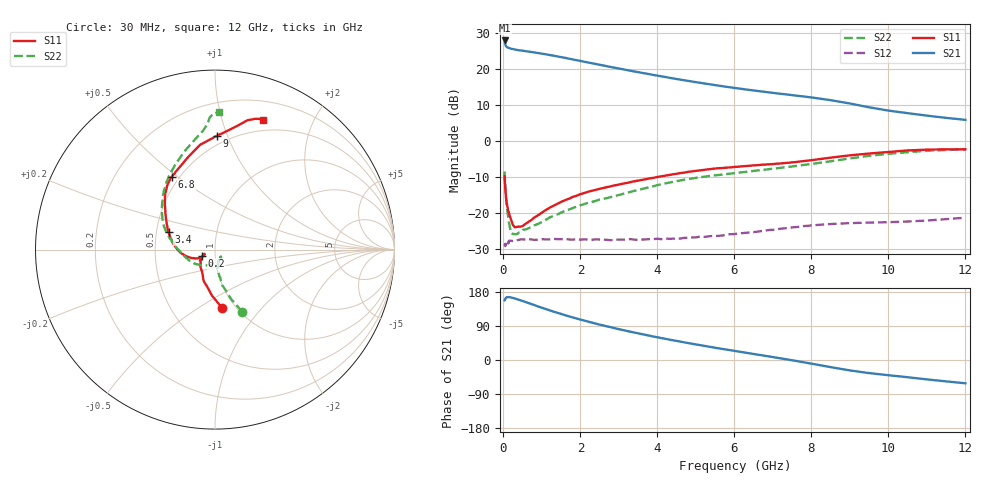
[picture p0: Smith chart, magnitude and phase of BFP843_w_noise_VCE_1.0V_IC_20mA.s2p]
! Infineon Technologies  Discrete & RF Semiconductors
! BFP843
! VCE =  1.0 V,  IC =  20 mA
! Common Emitter S-Parameters:  Aug 2013
# GHz  S  MA  R  50
!  f  S11  S21  S12  S22
! GHz  MAG  ANG  MAG  ANG  MAG  ANG  MAG  ANG
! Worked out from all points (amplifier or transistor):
!   103 points, 30 MHz to 12 GHz, reference 50 ohm
!   highest |S21| = 28.0 dB at 30 MHz (marker M1)
!   |S21| within 3 dB of that: start of sweep to 591.2 MHz
!   unconditionally stable (mu >= 1): 116.9 MHz to 10.99 GHz
!   at 400 MHz: K = 1.02, MAG = 25.4 dB, |S12| = -27.5 dB
!   at 3.7 GHz: K = 1.36, MAG = 19.5 dB, |S12| = -27.3 dB
!   at 12 GHz: K = 0.90, MSG = 13.6 dB, |S12| = -21.3 dB
!   lowest NFmin = 1.04 dB at 450 MHz
!   S11 on the Smith chart (normalised r, x): 30 MHz: 0.87, -0.63; 200 MHz: 0.86, -0.06; 3.4 GHz: 0.58, +0.12; 6.8 GHz: 0.46, +0.48; 9 GHz: 0.43, +0.92; 12 GHz: 0.38, +1.36
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0.03  0.3267 -83.1  25.17 157.7  0.0346 24.2  0.3776 -66.3
0.04  0.2561 -93.9  23.15 159.5  0.037 22.1  0.2888 -72.0
0.05  0.212 -101.7  22.07 162.4  0.0347 15.5  0.2281 -75.8
0.07  0.1545 -116.6  20.81 164.5  0.0365 8.0  0.1592 -79.4
0.12  0.1088 -137.9  19.94 166.1  0.0406 7.7  0.0902 -78.9
0.2  0.0801 -153.5  19.28 165.0  0.0412 7.3  0.0525 -63.6
0.7  0.0781 -150.4  17.46 148.5  0.0431 2.8  0.0631 -68.3
0.9  0.093 -150.8  16.82 141.3  0.0427 2.6  0.0706 -84.2
1.1  0.11 -153.8  16.16 134.5  0.043 1.3  0.0805 -97.5
1.3  0.1264 -158.1  15.46 127.7  0.0436 1.0  0.0913 -108.8
1.6  0.151 -163.8  14.42 118.3  0.0437 0.3  0.1071 -123.0
2.1  0.19 -174.3  12.73 103.9  0.0431 0.1  0.1333 -143.2
2.7  0.2299 173.0  10.99 88.5  0.0423 1.1  0.1621 -161.6
3.4  0.2763 159.6  9.323 72.5  0.0426 2.9  0.2037 -179.6
4.1  0.3242 147.5  7.976 57.9  0.0433 4.3  0.2508 167.5
5  0.3863 136.3  6.62 41.1  0.0459 6.6  0.3084 156.2
6.1  0.4414 127.4  5.413 22.4  0.052 8.7  0.3638 144.2
6.8  0.4721 120.5  4.844 10.9  0.057 8.2  0.4013 136.7
8.5  0.5896 98.1  3.714 -18.8  0.0703 -0.8  0.5246 114.8
9  0.6349 88.9  3.343 -27.5  0.0724 -4.0  0.5756 106.9
10.5  0.743 75.9  2.452 -45.5  0.0762 -10.7  0.7015 93.4
12  0.7711 69.8  1.979 -61.5  0.0863 -17.1  0.7666 88.5
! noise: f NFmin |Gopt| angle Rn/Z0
0.45  1.04  0.12  -173  0.04
0.9  1.05  0.12  -165  0.07
1.5  1.06  0.13  -157  0.15
1.9  1.08  0.13  -147  0.21
2.4  1.11  0.12  -135  0.27
3.5  1.15  0.11  -117  0.32
5.5  1.25  0.25  -110  0.41
10  1.83  0.52  -61  0.54
